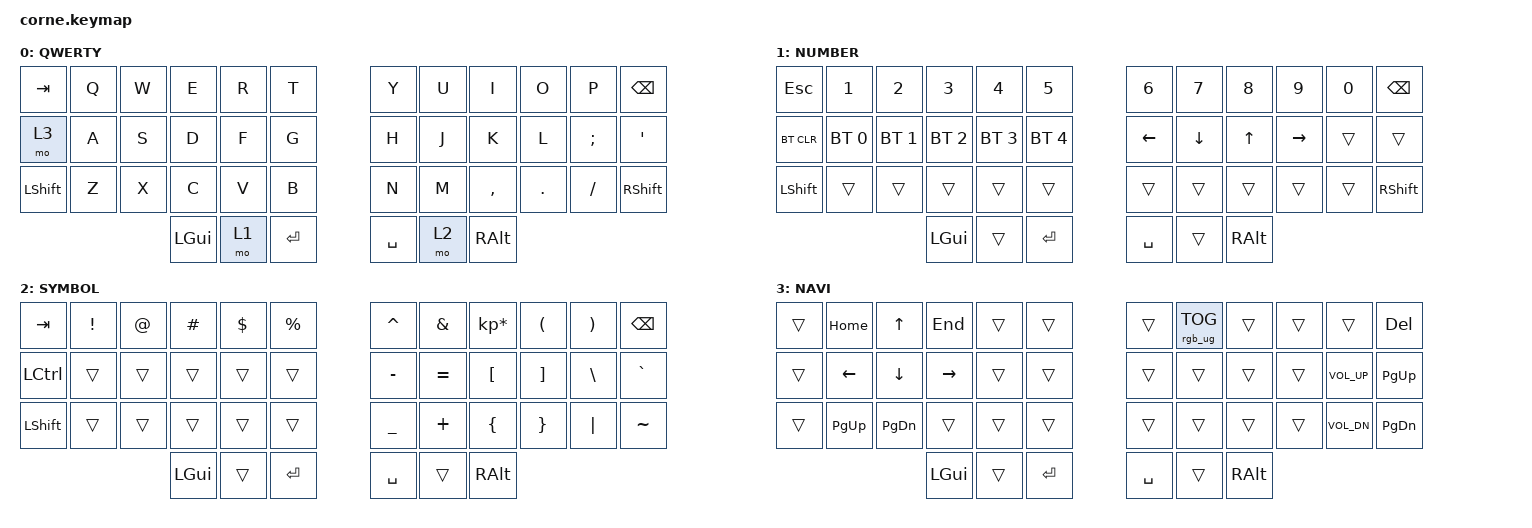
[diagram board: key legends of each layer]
/*
 * Copyright (c) 2020 The ZMK Contributors
 *
 * SPDX-License-Identifier: MIT
 */

#include <behaviors.dtsi>
#include <dt-bindings/zmk/keys.h>
#include <dt-bindings/zmk/bt.h>
#include <dt-bindings/zmk/rgb.h>

#define COMBO_TIMEOUT 60

#define QWERTY 0
#define NUMBER 1
#define SYMBOL 2
#define NAVI 3

/ {
        combos {
                compatible = "zmk,combos";
                combo_F12 {
                        timeout-ms = <COMBO_TIMEOUT>;
                        key-positions = <28 29>;
                        bindings = <&kp F12>;
                };
                combo_F11 {
                        timeout-ms = <COMBO_TIMEOUT>;
                        key-positions = <36 37>;
                        bindings = <&kp F11>;
                };
                combo_F13 {
                        timeout-ms = <COMBO_TIMEOUT>;
                        key-positions = <30 31>;
                        bindings = <&kp F13>;
                };
	        combo_CTRL {
                        timeout-ms = <COMBO_TIMEOUT>;
                        key-positions = <40 41>;
                        bindings = <&kp RCTRL>;
                };
                combo_SALT {
                        timeout-ms = <COMBO_TIMEOUT>;
                        key-positions = <24 25>;
                        bindings = <&kp LSHFT(LALT)>;
                };
                
        };

};

/ {
        keymap  {
                compatible = "zmk,keymap";

                default_layer {
                        label = "QWERTY";

// -----------------------------------------------------------------------------------------
// |  TAB |  Q  |  W  |  E  |  R  |  T  |   |  Y  |  U   |  I  |  O  |  P  | BKSP |
// | CTRL |  A  |  S  |  D  |  F  |  G  |   |  H  |  J   |  K  |  L  |  ;  |  '   |
// | SHFT |  Z  |  X  |  C  |  V  |  B  |   |  N  |  M   |  ,  |  .  |  /  | SHFT |
//                    | GUI | LWR | RET |   | SPC | RSE  | ALT |

                        bindings = <
   &kp TAB   &kp Q &kp W &kp E &kp R &kp T   &kp Y &kp U  &kp I     &kp O   &kp P    &kp BSPC
   &mo 3     &kp A &kp S &kp D &kp F &kp G   &kp H &kp J  &kp K     &kp L   &kp SEMI &kp SQT
   &kp LSHFT &kp Z &kp X &kp C &kp V &kp B   &kp N &kp M  &kp COMMA &kp DOT &kp FSLH &kp RSHFT
                  &kp LGUI &mo 1 &kp RET   &kp SPACE &mo 2 &kp RALT
                        >;
                };

                lower_layer {
                        label = "NUMBER";

// -----------------------------------------------------------------------------------------
// |  ESC |  1  |  2  |  3  |  4  |  5  |   |  6  |  7  |  8  |  9  |  0  | BKSP |
// | BTCLR| BT1 | BT2 | BT3 | BT4 | BT5 |   | LFT | DWN |  UP | RGT |     |      |
// | SHFT |     |     |     |     |     |   |     |     |     |     |     | SHFT |
//                    | GUI |     | RET |   | SPC |     | ALT |

                        bindings = <
   &kp ESC    &kp N1       &kp N2       &kp N3       &kp N4       &kp N5        &kp N6     &kp N7    &kp N8 &kp N9    &kp N0  &kp BSPC
   &bt BT_CLR &bt BT_SEL 0 &bt BT_SEL 1 &bt BT_SEL 2 &bt BT_SEL 3 &bt BT_SEL 4  &kp LEFT   &kp DOWN  &kp UP &kp RIGHT &trans  &trans
   &kp LSHFT  &trans       &trans       &trans       &trans       &trans        &trans     &trans    &trans &trans    &trans  &kp RSHFT
                          	        &kp LGUI     &trans       &kp RET       &kp SPACE  &trans    &kp RALT
                        >;
                };

                raise_layer {
                        label = "SYMBOL";

// -----------------------------------------------------------------------------------------
// |  TAB |  !  |  @  |  #  |  $  |  %  |   |  ^  |  &  |  *  |  (  |  )  | BKSP |
// | CTRL |     |     |     |     |     |   |  -  |  =  |  [  |  ]  |  \  |  `   |
// | SHFT |     |     |     |     |     |   |  _  |  +  |  {  |  }  | "|" |  ~   |
//                    | GUI |     | RET |   | SPC |     | ALT |

                        bindings = <
   &kp TAB   &kp EXCL &kp AT &kp HASH &kp DLLR &kp PRCNT   &kp CARET &kp AMPS  &kp KP_MULTIPLY &kp LPAR &kp RPAR &kp BSPC
   &kp LCTRL &trans   &trans &trans   &trans   &trans      &kp MINUS &kp EQUAL &kp LBKT        &kp RBKT &kp BSLH &kp GRAVE
   &kp LSHFT &trans   &trans &trans   &trans   &trans      &kp UNDER &kp PLUS  &kp LBRC        &kp RBRC &kp PIPE &kp TILDE
                    	     &kp LGUI &trans   &kp RET   &kp SPACE   &trans    &kp RALT
                        >;
                };

                nav_layer {
                        label = "NAVI";

// -----------------------------------------------------------------------------------------
// |     |  UP |     |     |     |     |   |     |    |     |    | RST | DEL |
// | LFT | DWN | RGT |     |     |     |   |     |    |     |    |     | PUP |
// |     | PUP | PDN |     |     |     |   |     |    |     |    |     | PDN |
//                   | GUI |     | RET |   | SPC |    | ALT |

                        bindings = <
   &trans   &kp HOME   &kp UP      &kp END   &trans   &trans   &trans   &rgb_ug RGB_TOG  &trans   &trans   &trans   &kp DEL
   &trans   &kp LEFT   &kp DOWN    &kp RIGHT &trans   &trans   &trans   &trans  &trans   &trans   &kp C_VOL_UP  &kp PG_UP
   &trans   &kp PG_UP  &kp PG_DN   &trans    &trans   &trans   &trans   &trans  &trans   &trans   &kp C_VOL_DN  &kp PG_DN
                    	     &kp LGUI &trans   &kp RET   &kp SPACE   &trans    &kp RALT
                        >;
                };
        };
};
